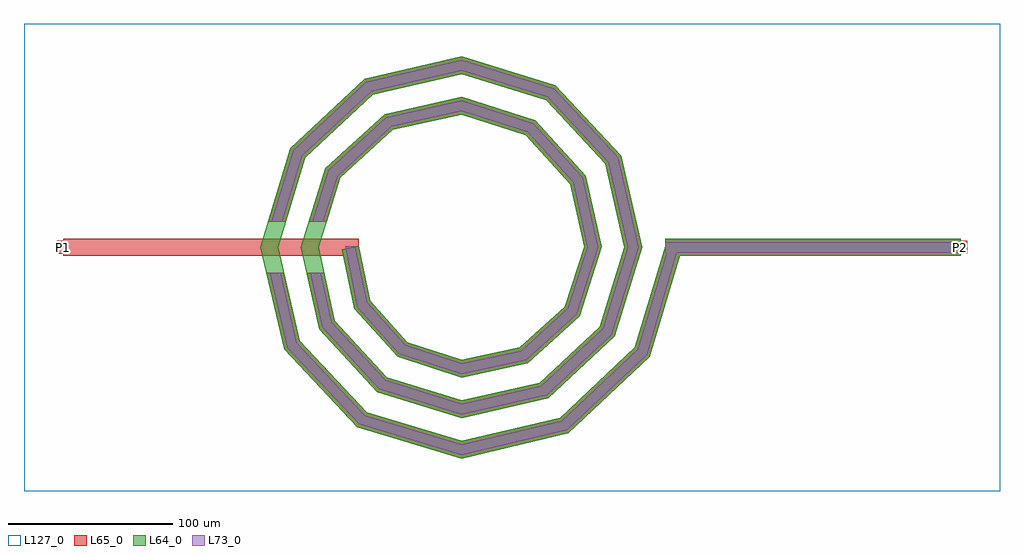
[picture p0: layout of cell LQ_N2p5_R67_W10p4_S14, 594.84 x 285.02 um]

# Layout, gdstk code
import gdstk
lib = gdstk.Library(unit=1e-6, precision=1e-09)
def R(c, l, rs):  # rectangles x0, y0, x1, y1
    for r in rs: c.add(gdstk.rectangle(r[:2], r[2:], *l))
def P(c, l, *ps):  # polygons
    for p in ps: c.add(gdstk.Polygon(p, *l))
L64_0 = (64, 0)
L65_0 = (65, 0)
L73_0 = (73, 0)
L127_0 = (127, 0)

lq_n2p5_r67_w10p4_s14 = lib.new_cell('LQ_N2p5_R67_W10p4_S14')
R(lq_n2p5_r67_w10p4_s14, L64_0, [(124.27,-5.2,304.27,5.2)])
P(lq_n2p5_r67_w10p4_s14, L64_0, [(-55.667,-32.481),(-33.004,-57.74),(0.279,-68.562),(35.545,-61.022),(63.071,-36.109),(74.732,0.258),(66.375,38.612),(39.21,68.404),(0.239,80.901),(-41.681,71.726),(-73.738,42.309),(-87.07,0.223),(-77.077,-44.753),(-45.407,-79.074),(0.209,-93.24),(47.826,-82.427),(84.411,-48.503),(99.41,0.197),(87.776,50.901),(51.597,89.748),(0.186,105.58),(-53.976,93.124),(-95.086,54.691),(-111.749,0.176),(-98.472,-57.053),(-57.784,-100.425),(0.168,-117.919),(60.131,-103.82),(105.764,-60.876),(124.49,1.495),(134.451,-1.495),(114.923,-66.538),(65.226,-113.305),(0.168,-128.682),(-63.46,-109.575),(-107.966,-62.134),(-122.511,0.176),(-104.227,60.383),(-59.041,102.627),(0.186,116.341),(57.306,98.878),(97.288,55.946),(110.17,0.197),(93.529,-54.231),(52.851,-91.95),(0.209,-104),(-51.157,-88.178),(-86.613,-49.754),(-97.829,0.223),(-82.827,48.084),(-46.655,81.277),(0.239,91.659),(45.013,77.475),(75.942,43.555),(85.488,0.258),(72.121,-41.945),(40.452,-70.608),(0.279,-79.317),(-38.879,-66.765),(-65.275,-37.345),(-72.86,-1.064),(-62.68,1.064)])
R(lq_n2p5_r67_w10p4_s14, L65_0, [(-242.57,-5.2,-62.57,5.2), (124.27,-5.2,304.27,5.2), (-246.57,-4,-238.57,4), (300.27,-4,308.27,4)])
P(lq_n2p5_r67_w10p4_s14, L65_0, [(-98.472,-57.053),(-57.784,-100.425),(0.168,-117.919),(60.131,-103.82),(105.764,-60.876),(124.49,1.495),(134.451,-1.495),(114.923,-66.538),(65.226,-113.305),(0.168,-128.682),(-63.46,-109.575),(-107.966,-62.134),(-118.828,-15.6),(-108.149,-15.6)],
  [(-77.077,-44.753),(-45.407,-79.074),(0.209,-93.24),(47.826,-82.427),(84.411,-48.503),(99.41,0.197),(87.776,50.901),(51.597,89.748),(0.186,105.58),(-53.976,93.124),(-95.086,54.691),(-106.958,15.6),(-117.827,15.6),(-104.227,60.383),(-59.041,102.627),(0.186,116.341),(57.306,98.878),(97.288,55.946),(110.17,0.197),(93.529,-54.231),(52.851,-91.95),(0.209,-104),(-51.157,-88.178),(-86.613,-49.754),(-94.278,-15.6),(-83.62,-15.6)],
  [(-33.004,-57.74),(0.279,-68.563),(35.545,-61.022),(63.071,-36.109),(74.732,0.258),(66.375,38.612),(39.21,68.404),(0.239,80.901),(-41.681,71.726),(-73.739,42.309),(-82.111,15.6),(-93.01,15.6),(-82.827,48.084),(-46.655,81.277),(0.239,91.659),(45.013,77.475),(75.942,43.555),(85.488,0.258),(72.121,-41.945),(40.452,-70.608),(0.279,-79.317),(-38.879,-66.766),(-65.275,-37.345),(-72.86,-1.064),(-62.68,1.064),(-55.667,-32.481)])
R(lq_n2p5_r67_w10p4_s14, L73_0, [(124.27,-3.2,304.27,3.2)])
P(lq_n2p5_r67_w10p4_s14, L73_0, [(-100.298,-58.03),(-58.875,-102.185),(0.103,-119.989),(61.111,-105.644),(107.525,-61.965),(126.406,0.92),(132.535,0.92),(113.162,-65.449),(64.247,-111.481),(0.103,-126.612),(-62.368,-107.815),(-106.14,-61.157),(-116.775,-15.6),(-110.203,-15.6)],
  [(-78.911,-45.715),(-46.512,-80.825),(0.129,-95.309),(48.792,-84.258),(86.164,-49.604),(101.479,0.121),(89.605,51.871),(52.695,91.504),(0.115,107.649),(-54.95,94.952),(-96.844,55.786),(-109.048,15.6),(-115.737,15.6),(-102.469,59.288),(-58.067,100.799),(0.115,114.271),(56.208,97.122),(95.459,54.976),(108.101,0.121),(91.775,-53.129),(51.884,-90.119),(0.129,-101.931),(-50.051,-86.428),(-84.779,-48.792),(-92.229,-15.6),(-85.669,-15.6)],
  [(-34.134,-59.475),(0.172,-70.631),(36.488,-62.865),(64.811,-37.231),(76.8,0.159),(68.215,39.562),(40.326,70.148),(0.147,82.97),(-42.638,73.563),(-75.486,43.42),(-84.207,15.6),(-90.914,15.6),(-81.079,46.974),(-45.699,79.44),(0.147,89.59),(43.897,75.731),(74.102,42.604),(83.419,0.159),(70.381,-40.822),(39.508,-68.764),(0.172,-77.249),(-37.749,-65.03),(-63.428,-36.41),(-70.902,0.655),(-64.637,0.655),(-57.515,-33.416)])
R(lq_n2p5_r67_w10p4_s14, L127_0, [(-266.57,-148.682,328.27,136.341)])
lq_n2p5_r67_w10p4_s14.add(gdstk.Label('P2', (304.27,0), layer=65, texttype=0))
lq_n2p5_r67_w10p4_s14.add(gdstk.Label('P1', (-242.57,0), layer=65, texttype=0))
lq_n2p5_r67_w10p4_s14.add(gdstk.Label('P2', (308.27,0), layer=145, texttype=0))
lq_n2p5_r67_w10p4_s14.add(gdstk.Label('P1', (-246.57,0), layer=145, texttype=0))

lib.write_gds('LQ_N2p5_R67_W10p4_S14.gds')
